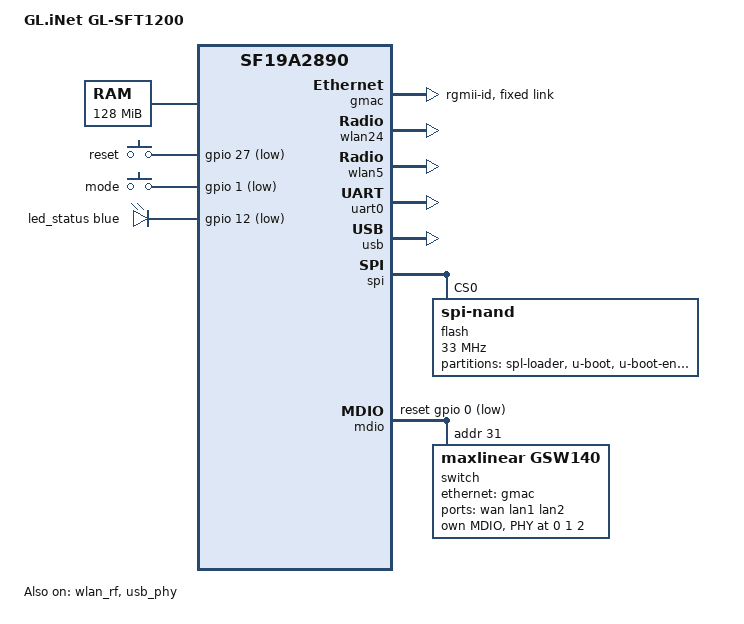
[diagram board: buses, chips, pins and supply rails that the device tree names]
/dts-v1/;
#include <dt-bindings/input/input.h>
#include <dt-bindings/leds/common.h>
#include "sf19a2890.dtsi"

/ {
	model = "GL.iNet GL-SFT1200";
	compatible = "glinet,gl-sft1200", "siflower,sf19a2890";

	aliases {
		led-boot = &led_status;
		led-failsafe = &led_status;
		led-running = &led_status;
		led-upgrade = &led_status;
	};

	chosen {
		stdout-path = "serial0:115200n8";
	};

	memory@0 {
		device_type = "memory";
		reg = <0x0 0x8000000>;
	};

	keys {
		compatible = "gpio-keys";

		reset {
			label = "reset";
			gpios = <&gpio 27 GPIO_ACTIVE_LOW>;
			linux,code = <KEY_RESTART>;
		};

		switch {
			label = "mode";
			linux,code = <BTN_0>;
			linux,input-type = <EV_SW>;
			gpios = <&gpio 1 GPIO_ACTIVE_LOW>;
		};
	};

	leds {
		compatible = "gpio-leds";

		led_status: status {
			function = LED_FUNCTION_STATUS;
			color = <LED_COLOR_ID_BLUE>;
			gpios = <&gpio 12 GPIO_ACTIVE_LOW>;
		};
	};

};

&gmac {
	status = "okay";
	phy-mode = "rgmii-id";
	nvmem-cells = <&macaddr_factory_0>, <&rgmii_delay_factory_b2>;
	nvmem-cell-names = "mac-address", "rgmii-delay";
	snps,ps-speed = <1000>;

	fixed-link {
		speed = <1000>;
		full-duplex;
		pause;
	};
};

&wlan_rf {
	status = "okay";
	nvmem-cells = <&rf_cali_config_factory_800>;
	nvmem-cell-names = "rf-cali-config";
};

&wlan24 {
	status = "okay";
	nvmem-cells = <&rf_cali_config_factory_800>,
		      <&wifi_version_factory_800>,
		      <&wifi_info_factory_802>;
	nvmem-cell-names = "rf-cali-config", "wifi-version", "wifi-info";
};

&wlan5 {
	status = "okay";
	nvmem-cells = <&rf_cali_config_factory_800>,
		      <&wifi_version_factory_800>,
		      <&wifi_info_factory_802>;
	nvmem-cell-names = "rf-cali-config", "wifi-version", "wifi-info";
};

&uart0 {
	status = "okay";
};

&usb {
	status = "okay";
};

&usb_phy {
	status = "okay";
};

&spi {
	status = "okay";
	flash@0 {
		compatible = "spi-nand";
		reg = <0>;
		spi-max-frequency = <33000000>;

		partitions {
			compatible = "fixed-partitions";
			#address-cells = <1>;
			#size-cells = <1>;

			partition@0 {
				label = "spl-loader";
				reg = <0x0 0x20000>;
				read-only;
			};

			partition@20000 {
				label = "u-boot";
				reg = <0x20000 0x60000>;
			};

			partition@80000 {
				label = "u-boot-env";
				reg = <0x80000 0x20000>;
			};

			factory:partition@a0000 {
				label = "factory";
				reg = <0xa0000 0x20000>;

				nvmem-layout {
					compatible = "fixed-layout";
					#address-cells = <1>;
					#size-cells = <1>;

					macaddr_factory_0: macaddr@0 {
						reg = <0x0 0x6>;
					};

					rgmii_delay_factory_b2: rgmii-delay@b2 {
						reg = <0xb2 0x4>;
					};

					/*
					 * WiFi calibration blob, layout verified against
					 * a factory dump from stock firmware:
					 *   0x800: version marker (2 bytes, "XO"/"V2".."V4")
					 *   0x802: XO config (le16)
					 *   0x802: txpower calibration table ("wifi info",
					 *          XO + LB + HB gain tables, max 3380 bytes)
					 * Vendor DT used "mtd-rf-cali-config = <&factory 0x800>".
					 */
					rf_cali_config_factory_800: rf-cali-config@800 {
						reg = <0x800 0x4>;
					};

					wifi_version_factory_800: wifi-version@800 {
						reg = <0x800 0x2>;
					};

					wifi_info_factory_802: wifi-info@802 {
						reg = <0x802 0xd34>;
					};
				};
			};

			partition@c0000 {
				label = "kernel";
				reg = <0xc0000 0x400000>;
			};

			partition@3c0000 {
				label = "ubi";
				reg = <0x4c0000 0x7940000>;
				compatible = "linux,ubi";
			};

			partition@7c00000 {
				label = "log";
				reg = <0x7e00000 0x40000>;
			};
		};
	};
};

&mdio {
	reset-gpios = <&gpio 0 GPIO_ACTIVE_LOW>;
	reset-delay-us = <10000>;
	reset-post-delay-us = <100000>;
	clock-frequency = <12500000>;

	switch: switch@1f {
		reg = <0x1f>;
		dsa,member = <0 0>;
		compatible = "maxlinear,gsw140";
		maxlinear,tag-protocol = "8021q";

		/*
		 * Use 802.1Q VLAN tagging instead of proprietary DSA tag.
		 * Required for HNAT hardware acceleration - the HNAT engine
		 * cannot process the 8-byte MaxLinear DSA header.
		 */
		dsa,tag-8021q;

		ports {
			#address-cells = <1>;
			#size-cells = <0>;

			port@0 {
				reg = <0>;
				label = "wan";
				phy-handle = <&switchphy0>;
				phy-mode = "internal";
				status = "okay";
			};

			port@1 {
				reg = <1>;
				label = "lan1";
				phy-handle = <&switchphy1>;
				phy-mode = "internal";
				status = "okay";
			};

			port@2 {
				reg = <2>;
				label = "lan2";
				phy-handle = <&switchphy2>;
				phy-mode = "internal";
				status = "okay";
			};

			port@5 {
				reg = <5>;
				phy-mode = "rgmii-id";
				status = "okay";

				ethernet = <&gmac>;
				fixed-link {
					speed = <1000>;
					full-duplex;
				};
			};
		};

		mdio {
			#address-cells = <1>;
			#size-cells = <0>;

			switchphy0: switchphy@0 {
				reg = <0>;
			};

			switchphy1: switchphy@1 {
				reg = <1>;
			};

			switchphy2: switchphy@2 {
				reg = <2>;
			};

		};
	};
};
